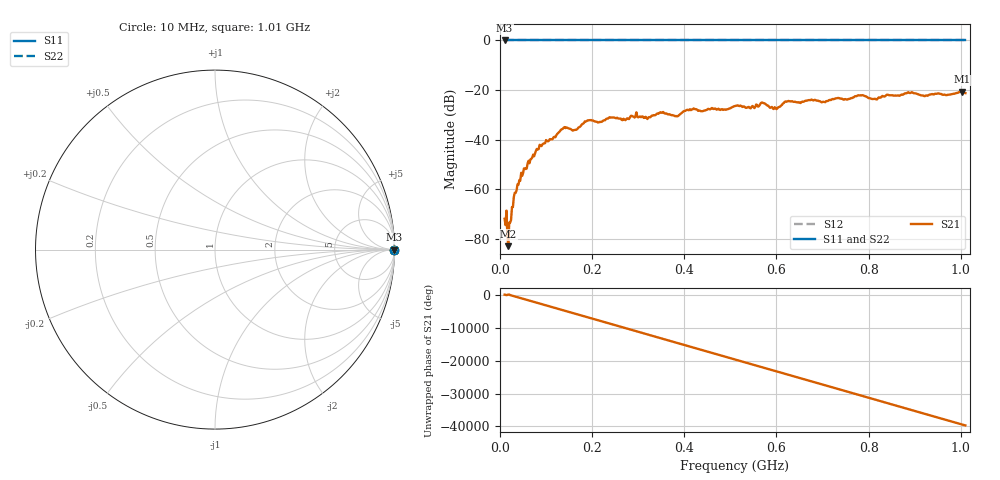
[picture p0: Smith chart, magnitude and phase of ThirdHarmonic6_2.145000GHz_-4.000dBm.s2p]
! 8/17/2025 1:36:58 AM
! C:\ANRITSUVNA\TEMP\TEMP.S2P
! CHANNEL.1
! TR.MEASUREMENT
! RAW.DATA
! RF.CORRECTION.OFF
! AVERAGING.OFF
! IF.BANDWIDTH: 5KHZ
! SWEEPTYPE:  FREQ.SWEEP(Linear)
! Reference Plane Port Info
! PORT:  PORT1  PORT2
! DISTANCE:  0  m  0  m
! TIME:  0  s  0  s
! PHASE.OFFSET:  0  deg.  0  deg.
! LOSS:  0  dB  0  dB
! REF.LOSS:  0  dB  0  dB
! REF.FREQ:  0  Hz  0  Hz
! Power Info
! POWER:  -20  dBm  -20  dBm
! EFF.POWER:  -20  dBm  -20  dBm
! SOURCE.ATTEN:  0  dB  0  dB
! TEST.ATTEN:  0  dB  0  dB
# GHZ S RI R 50.0
! FREQ.GHZ  S11RE  S11IM  S21RE  S21IM  S12RE  S12IM  S22RE  S22IM
!; PortSelection: Port_12
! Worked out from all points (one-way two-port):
!   501 points, 10 MHz to 1.01 GHz, reference 50 ohm
!   highest |S21| = -20.64 dB at 1.002 GHz (marker M1); lowest = -82.9 dB at 18 MHz (marker M2)
!   lowest |S11| = 0.0 dB at 10 MHz (marker M3)
!   |S11| at or under -10 dB: nowhere
!   |S22| runs from 0.0 to 0.0 dB; largest |S21 - S12| = 1.1
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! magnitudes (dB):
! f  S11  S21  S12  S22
! 10 MHz  0.0  -71.9  0.0  0.0
! 14 MHz  0.0  -68.6  0.0  0.0
! 18 MHz  0.0  -82.9  0.0  0.0
! 20 MHz  0.0  -73.4  0.0  0.0
! 30 MHz  0.0  -63.1  0.0  0.0
! 42 MHz  0.0  -56.2  0.0  0.0
! 82 MHz  0.0  -43.9  0.0  0.0
! 136 MHz  0.0  -35.7  0.0  0.0
! 162 MHz  0.0  -36.1  0.0  0.0
! 178 MHz  0.0  -33.8  0.0  0.0
! 194 MHz  0.0  -32.1  0.0  0.0
! 344 MHz  0.0  -29.5  0.0  0.0
! 384 MHz  0.0  -30.6  0.0  0.0
! 408 MHz  0.0  -28.1  0.0  0.0
! 510 MHz  0.0  -26.4  0.0  0.0
! 570 MHz  0.0  -25.1  0.0  0.0
! 598 MHz  0.0  -27.3  0.0  0.0
! 622 MHz  0.0  -24.7  0.0  0.0
! 678 MHz  0.0  -24.0  0.0  0.0
! 844 MHz  0.0  -22.0  0.0  0.0
! 1.002 GHz  0.0  -20.6  0.0  0.0
! 1.01 GHz  0.0  -21.2  0.0  0.0
